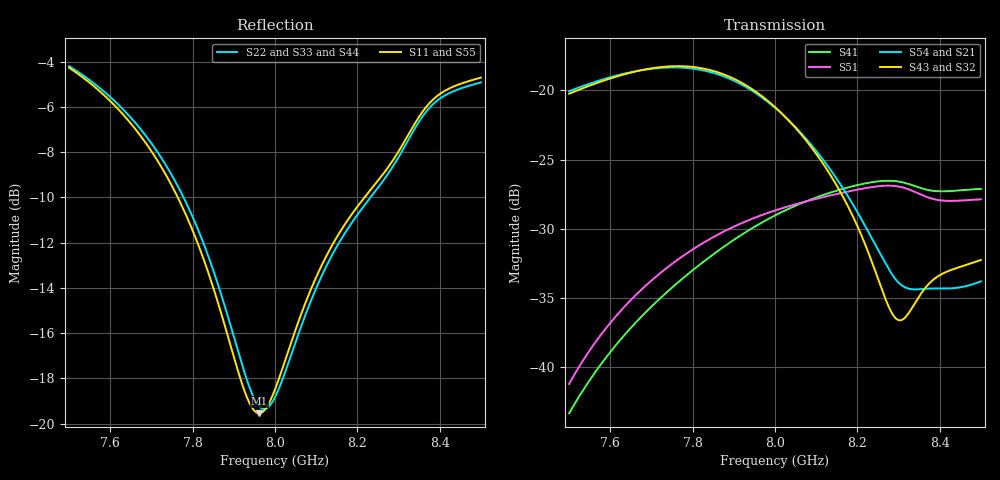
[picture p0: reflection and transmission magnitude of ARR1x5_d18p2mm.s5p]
! Touchstone file exported from HFSS 2025.1.0
!  File:  C:/Users/user/Documents/Ansoft/TFG_UWB-MIMO-Array.aedt
!  Generated:  02:04:24 PM Nov 20, 2026
!  Design:  ARR1x5_US3_PS6_dparam
!  Project:  TFG_UWB-MIMO-Array
!  Setup:  Setup_ch9
!  Solution:  Sweep_7p5_8p5
! Variables:
!  arr_d = 18.2mm
!  board_m = 13mm
!  board_x = 98.8mm
!  board_y = 26mm
!  cu_t = 0.035mm
!  line_w = 3.92mm
!  pad_xy = 22mm
!  pad_zn = 25mm
!  pad_zp = 33mm
!  par_L = 7.05mm
!  par_W = 11mm
!  par_yc = 0.615mm
!  par_z = 1.035mm
!  patch_L = 6.29mm
!  patch_W = 11.421266mm
!  sub_h = 2.07mm
!  tr_l = 6.6mm
!  tr_w = 0.8mm
!  u_Lu = 2.65mm
!  u_Wu = 4.4mm
!  u_t = 0.8mm
!  u_y0 = -0.7mm
# GHz S MA R 50.000000
! Terminal data exported
! Port[1] = P1
! Port[2] = P2
! Port[3] = P3
! Port[4] = P4
! Port[5] = P5
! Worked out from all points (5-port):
!   1001 points, 7.5 GHz to 8.5 GHz, reference 50 ohm
!   strongest paths, dB at 7.5 GHz, 7.75 GHz, 8 GHz, 8.25 GHz, 8.5 GHz:
!     S43: -20.2, -18.3, -21.2, -33.6, -32.2
!     S32: -20.2, -18.3, -21.2, -33.7, -32.3
!     S54: -20.1, -18.3, -21.3, -31.5, -33.8
!     S21: -20.1, -18.4, -21.3, -31.7, -33.9
!     S51: -41.2, -32.5, -28.7, -26.9, -27.9
!     S41: -43.3, -34.2, -29.0, -26.6, -27.1
!   lowest |S11| = -19.5 dB at 7.962 GHz (marker M1), VSWR 1.24, Z = 61.2 - j3.4 ohm
!   |S11| at or under -10 dB: 7.764 GHz to 8.217 GHz (453.5 MHz wide, 5.68 % of centre)
